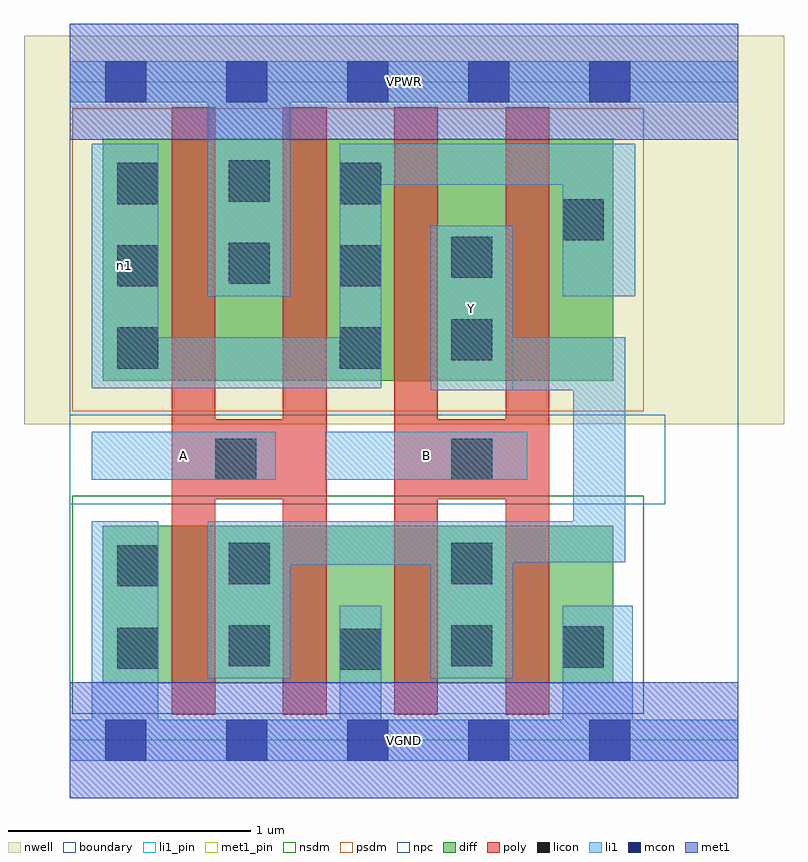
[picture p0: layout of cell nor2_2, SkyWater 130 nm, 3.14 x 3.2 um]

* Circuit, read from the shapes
.subckt nor2_2 A B VGND VPWR Y n1
XM1 Y A VGND VSUBS sky130_fd_pr__nfet_01v8 w=0.65 l=0.18 m=2
XM2 Y B VGND VSUBS sky130_fd_pr__nfet_01v8 w=0.65 l=0.18 m=2
XM3 VPWR A n1 n2 sky130_fd_pr__pfet_01v8 w=1 l=0.18 m=2
XM4 Y B n1 n2 sky130_fd_pr__pfet_01v8 w=1 l=0.18 m=2
.ends

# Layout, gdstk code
import gdstk
lib = gdstk.Library(unit=1e-6, precision=1e-09)
def R(c, l, rs):  # rectangles x0, y0, x1, y1
    for r in rs: c.add(gdstk.rectangle(r[:2], r[2:], *l))
def A(c, l, x, y, w, h, nx, ny, dx, dy):  # array of equal rectangles
    R(c, l, [(x+i*dx, y+j*dy, x+i*dx+w, y+j*dy+h) for i in range(nx) for j in range(ny)])
nwell = (64, 20)
diff = (65, 20)
poly = (66, 20)
licon = (66, 44)
li1_pin = (67, 16)
li1 = (67, 20)
mcon = (67, 44)
met1_pin = (68, 16)
met1 = (68, 20)
nsdm = (93, 44)
psdm = (94, 20)
npc = (95, 20)
boundary = (235, 4)

nor2_2 = lib.new_cell('nor2_2')
R(nor2_2, nwell, [(-0.19,1.305,2.95,2.91), (0,1.305,2.76,2.91)])
R(nor2_2, diff, [(0.135,0.235,2.245,0.885), (0.135,1.485,2.245,2.485)])
A(nor2_2, poly, 0.42, 0.105, 0.18, 2.51, 4, 1, 0.46, 0)
R(nor2_2, poly, [(0.42,0.995,1.06,1.325), (1.34,0.995,1.98,1.325)])
A(nor2_2, licon, 0.195, 1.535, 0.17, 0.17, 1, 3, 0, 0.34)
A(nor2_2, licon, 1.115, 1.535, 0.17, 0.17, 1, 3, 0, 0.34)
R(nor2_2, licon, [(1.115,0.29,1.285,0.46), (0.195,0.295,0.365,0.465), (2.035,0.3,2.205,0.47), (0.655,0.305,0.825,0.475), (1.575,0.305,1.745,0.475), (0.195,0.635,0.365,0.805), (0.655,0.645,0.825,0.815), (1.575,0.645,1.745,0.815), (0.6,1.075,0.77,1.245), (1.575,1.075,1.745,1.245), (1.575,1.57,1.745,1.74), (0.655,1.885,0.825,2.055), (1.575,1.91,1.745,2.08), (2.035,2.065,2.205,2.235), (0.655,2.225,0.825,2.395)])
R(nor2_2, li1_pin, [(0.09,1.075,0.85,1.275), (1.055,1.075,1.89,1.275), (1.49,1.445,1.83,2.125)])
R(nor2_2, li1, [(0,-0.085,2.76,0.085), (0.09,-0.085,0.365,0.905), (1.115,-0.085,1.285,0.555), (2.035,-0.085,2.325,0.555), (0.57,0.255,0.91,0.905), (1.49,0.255,1.83,0.905), (0.57,0.725,1.83,0.905), (0.57,0.735,2.295,0.905), (2.08,0.735,2.295,1.665), (0.09,1.075,0.85,1.275), (1.055,1.075,1.89,1.275), (1.49,1.445,1.83,2.125), (1.49,1.445,2.295,1.665), (0.09,1.455,0.365,2.465), (0.09,1.455,1.285,1.665), (1.115,1.455,1.285,2.465), (0.57,1.835,0.91,2.805), (2.035,1.835,2.335,2.465), (1.115,2.295,2.335,2.465), (0,2.635,2.76,2.805)])
A(nor2_2, mcon, 0.145, -0.085, 0.17, 0.17, 5, 2, 0.5, 2.72)
R(nor2_2, met1_pin, [(0,-0.24,2.76,0.24), (0,2.48,2.76,2.96)])
R(nor2_2, met1, [(0,-0.24,2.76,0.24), (0,2.48,2.76,2.96)])
R(nor2_2, nsdm, [(0.01,0.11,2.37,1.01)])
R(nor2_2, psdm, [(0.01,1.36,2.37,2.61)])
R(nor2_2, npc, [(0,0.975,2.46,1.345)])
R(nor2_2, boundary, [(0,0,2.76,2.72)])
nor2_2.add(gdstk.Label('A', (0.47,1.175), layer=67, texttype=5))
nor2_2.add(gdstk.Label('B', (1.472,1.175), layer=67, texttype=5))
nor2_2.add(gdstk.Label('Y', (1.66,1.785), layer=67, texttype=5))
nor2_2.add(gdstk.Label('n1', (0.227,1.96), layer=67, texttype=5))
nor2_2.add(gdstk.Label('VPWR', (1.38,2.72), layer=68, texttype=5))
nor2_2.add(gdstk.Label('VGND', (1.38,0), layer=68, texttype=5))
nor2_2.add(gdstk.Label('A', (0.47,1.175), layer=67, texttype=16))
nor2_2.add(gdstk.Label('B', (1.472,1.175), layer=67, texttype=16))
nor2_2.add(gdstk.Label('Y', (1.66,1.785), layer=67, texttype=16))
nor2_2.add(gdstk.Label('VPWR', (1.38,2.72), layer=68, texttype=16))
nor2_2.add(gdstk.Label('VGND', (1.38,0), layer=68, texttype=16))

lib.write_gds('nor2_2.gds')
